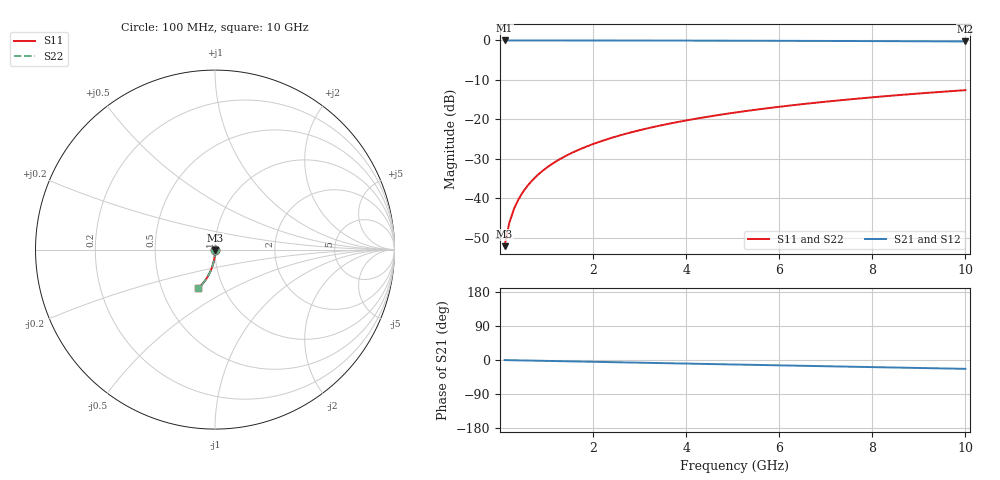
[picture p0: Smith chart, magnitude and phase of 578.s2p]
# Hz S RI R 50.00
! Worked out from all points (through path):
!   100 points, 100 MHz to 10 GHz, reference 50 ohm
!   highest |S21| = 0.00 dB at 100 MHz (marker M1); lowest = -0.3 dB at 10 GHz (marker M2)
!   group delay of S21, straight-line fit = 6.49 ps
!   lowest |S11| = -52.1 dB at 100 MHz (marker M3), VSWR 1.00, Z = 50 - j0.244 ohm
!   |S11| at or under -10 dB: start of sweep to end of sweep
!   |S22| runs from -52.1 to -12.6 dB; largest |S21 - S12| = 0
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1e8  0.000435 -0.00244  0.9995 -0.00411  0.9995 -0.00411  0.000435 -0.00244
2e8  0.000405 -0.00487  0.9995 -0.00823  0.9995 -0.00823  0.000405 -0.00487
3e8  0.000354 -0.00731  0.9994 -0.0123  0.9994 -0.0123  0.000354 -0.00731
4e8  0.000283 -0.00974  0.9993 -0.0165  0.9993 -0.0165  0.000283 -0.00974
5e8  0.000191 -0.0122  0.9992 -0.0206  0.9992 -0.0206  0.000191 -0.0122
6e8  7.89e-05 -0.0146  0.9991 -0.0247  0.9991 -0.0247  7.89e-05 -0.0146
7e8  -5.32e-05 -0.017  0.999 -0.0288  0.999 -0.0288  -5.32e-05 -0.017
8e8  -0.000205 -0.0195  0.9988 -0.0329  0.9988 -0.0329  -0.000205 -0.0195
9e8  -0.000378 -0.0219  0.9986 -0.037  0.9986 -0.037  -0.000378 -0.0219
1.1e9  -0.000783 -0.0268  0.9981 -0.0452  0.9981 -0.0452  -0.000783 -0.0268
1.4e9  -0.00154 -0.034  0.9972 -0.0575  0.9972 -0.0575  -0.00154 -0.034
1.8e9  -0.00283 -0.0437  0.9958 -0.0739  0.9958 -0.0739  -0.00283 -0.0437
2.1e9  -0.004 -0.0509  0.9944 -0.0862  0.9944 -0.0862  -0.004 -0.0509
2.5e9  -0.00585 -0.0605  0.9923 -0.1025  0.9923 -0.1025  -0.00585 -0.0605
2.9e9  -0.008 -0.07  0.9899 -0.1187  0.9899 -0.1187  -0.008 -0.07
3.4e9  -0.0111 -0.0817  0.9863 -0.1389  0.9863 -0.1389  -0.0111 -0.0817
4.2e9  -0.0171 -0.1002  0.9794 -0.1709  0.9794 -0.1709  -0.0171 -0.1002
5.1e9  -0.0253 -0.1205  0.97 -0.2063  0.97 -0.2063  -0.0253 -0.1205
5.9e9  -0.0337 -0.1379  0.9603 -0.2372  0.9603 -0.2372  -0.0337 -0.1379
6.7e9  -0.0433 -0.1546  0.9493 -0.2676  0.9493 -0.2676  -0.0433 -0.1546
8.4e9  -0.0668 -0.1877  0.922 -0.3296  0.922 -0.3296  -0.0668 -0.1877
1e10  -0.0926 -0.2154  0.8918 -0.3847  0.8918 -0.3847  -0.0926 -0.2154
